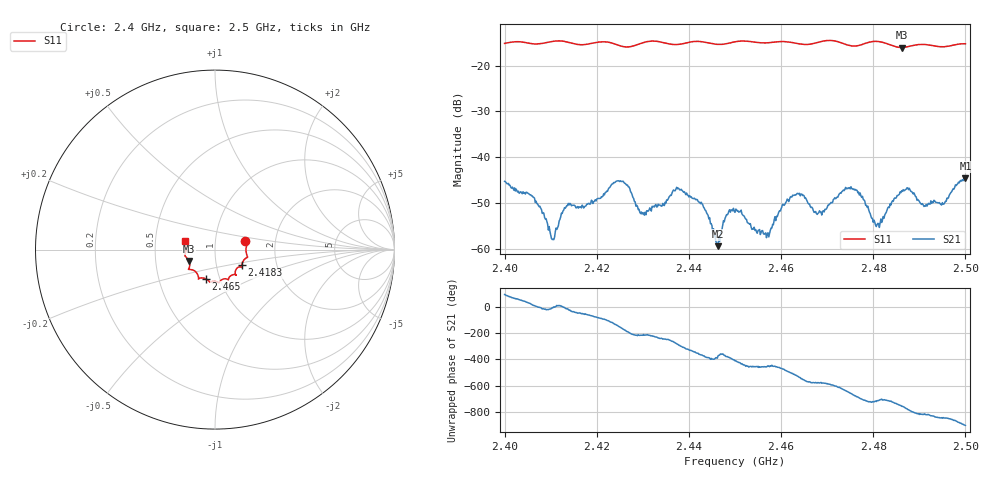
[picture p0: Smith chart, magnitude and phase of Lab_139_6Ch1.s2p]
# Hz S RI R 50
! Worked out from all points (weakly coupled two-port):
!   601 points, 2.4 GHz to 2.5 GHz, reference 50 ohm
!   highest |S21| = -44.60 dB at 2.5 GHz (marker M1); lowest = -59.5 dB at 2.4463 GHz (marker M2)
!   lowest |S11| = -16.0 dB at 2.4862 GHz (marker M3), VSWR 1.37, Z = 37.1 - j4.81 ohm
!   |S11| at or under -10 dB: start of sweep to end of sweep
!   S12 and S22 are empty: the file has one direction only
!   S11 on the Smith chart (normalised r, x): 2.4 GHz: 1.40, +0.13; 2.4183 GHz: 1.33, -0.24; 2.465 GHz: 0.86, -0.29; 2.5 GHz: 0.71, +0.07
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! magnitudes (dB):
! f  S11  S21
! 2.4 GHz  -15.1  -45.3
! 2.406 GHz  -15.2  -48.5
! 2.4103 GHz  -14.7  -58.0
! 2.4133 GHz  -14.8  -50.9
! 2.4167 GHz  -15.4  -51.1
! 2.4183 GHz  -15.2  -50.1
! 2.4248 GHz  -15.6  -45.2
! 2.4298 GHz  -15.1  -52.4
! 2.4333 GHz  -14.7  -50.3
! 2.4382 GHz  -15.3  -47.2
! 2.4432 GHz  -14.8  -50.9
! 2.4463 GHz  -15.4  -59.5
! 2.45 GHz  -14.8  -52.1
! 2.457 GHz  -15.0  -56.8
! 2.465 GHz  -15.4  -48.5
! 2.4667 GHz  -15.2  -50.9
! 2.4748 GHz  -15.6  -46.7
! 2.4808 GHz  -14.7  -54.7
! 2.4833 GHz  -15.3  -50.9
! 2.4862 GHz  -16.0  -47.3
! 2.495 GHz  -15.9  -49.9
! 2.5 GHz  -15.2  -44.6
